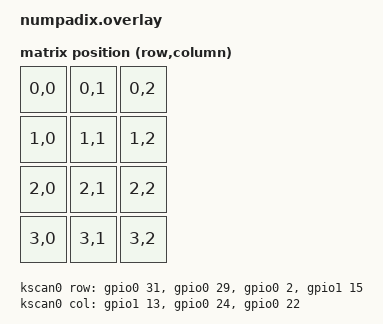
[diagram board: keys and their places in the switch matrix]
#include <dt-bindings/zmk/matrix_transform.h>

/ {
    chosen {
        zmk,kscan = &kscan0;
        zmk,matrix_transform = &default_transform;
    };

    default_transform: keymap_transform_0 {
        compatible = "zmk,matrix-transform";
        columns = <3>;
        rows = <4>;
        
        map = <
            RC(0,0) RC(0,1) RC(0,2)
            RC(1,0) RC(1,1) RC(1,2)
            RC(2,0) RC(2,1) RC(2,2)
            RC(3,0) RC(3,1) RC(3,2)
        >;
    };

    kscan0: kscan_0 {
        compatible = "zmk,kscan-gpio-matrix";
        diode-direction = "col2row";

        row-gpios
            = <&gpio0 31 (GPIO_ACTIVE_HIGH | GPIO_PULL_DOWN)>
            , <&gpio0 29 (GPIO_ACTIVE_HIGH | GPIO_PULL_DOWN)>
            , <&gpio0  2 (GPIO_ACTIVE_HIGH | GPIO_PULL_DOWN)>
            , <&gpio1 15 (GPIO_ACTIVE_HIGH | GPIO_PULL_DOWN)>
            ;

        col-gpios
            = <&gpio1 13 GPIO_ACTIVE_HIGH>
            , <&gpio0 24 GPIO_ACTIVE_HIGH>
            , <&gpio0 22 GPIO_ACTIVE_HIGH>
            ;
    };
};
